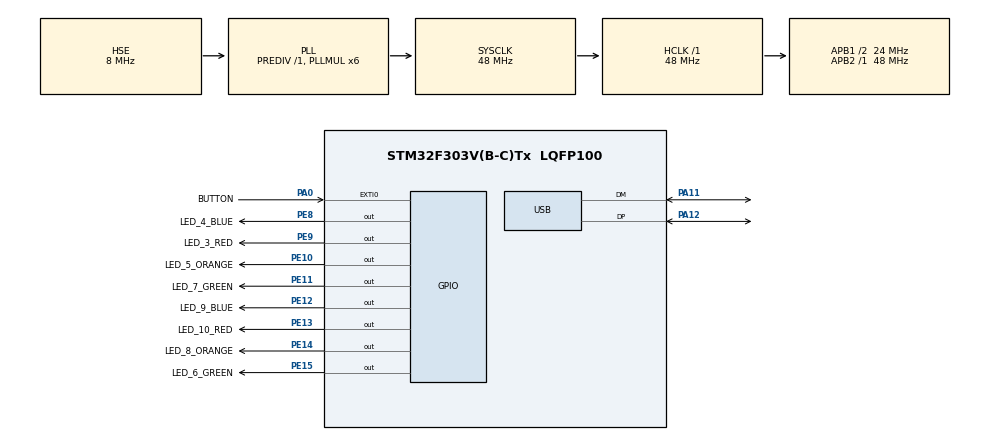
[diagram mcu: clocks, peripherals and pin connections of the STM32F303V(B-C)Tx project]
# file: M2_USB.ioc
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Mcu.Family=STM32F3
Mcu.Name=STM32F303V(B-C)Tx
Mcu.Package=LQFP100
NVIC.EXTI0_IRQn=true\:0\:0\:false\:false\:true\:true
NVIC.PriorityGroup=NVIC_PRIORITYGROUP_4
NVIC.USB_LP_CAN_RX0_IRQn=true\:0\:0\:false\:false\:true\:false
PA0.GPIO_Label=BUTTON
PA0.GPIO_ModeDefaultEXTI=GPIO_MODE_IT_RISING
PA0.Signal=GPXTI0
PA11.Mode=Device
PA11.Signal=USB_DM
PA12.Mode=Device
PA12.Signal=USB_DP
PE10.GPIO_Label=LED_5_ORANGE
PE10.Signal=GPIO_Output
PE11.GPIO_Label=LED_7_GREEN
PE11.Signal=GPIO_Output
PE12.GPIO_Label=LED_9_BLUE
PE12.Signal=GPIO_Output
PE13.GPIO_Label=LED_10_RED
PE13.Signal=GPIO_Output
PE14.GPIO_Label=LED_8_ORANGE
PE14.Signal=GPIO_Output
PE15.GPIO_Label=LED_6_GREEN
PE15.Signal=GPIO_Output
PE8.GPIO_Label=LED_4_BLUE
PE8.Signal=GPIO_Output
PE9.GPIO_Label=LED_3_RED
PE9.Signal=GPIO_Output
PF0-OSC_IN.Mode=HSE-External-Oscillator
PF0-OSC_IN.Signal=RCC_OSC_IN
PF1-OSC_OUT.Mode=HSE-External-Oscillator
PF1-OSC_OUT.Signal=RCC_OSC_OUT
ProjectManager.HeapSize=0x200
ProjectManager.StackSize=0x400
ProjectManager.TargetToolchain=SW4STM32
RCC.AHBFreq_Value=48000000
RCC.APB1CLKDivider=RCC_HCLK_DIV2
RCC.APB1Freq_Value=24000000
RCC.APB1TimFreq_Value=48000000
RCC.APB2Freq_Value=48000000
RCC.APB2TimFreq_Value=48000000
RCC.CortexFreq_Value=48000000
RCC.HCLKFreq_Value=48000000
RCC.HSE_VALUE=8000000
RCC.HSI_VALUE=8000000
RCC.LSE_VALUE=32768
RCC.PLLMUL=RCC_PLL_MUL6
RCC.SYSCLKFreq_VALUE=48000000
RCC.SYSCLKSourceVirtual=RCC_SYSCLKSOURCE_PLLCLK
RCC.USBFreq_Value=48000000
USB_DEVICE.APP_RX_DATA_SIZE=256
USB_DEVICE.APP_TX_DATA_SIZE=256
USB_DEVICE.CLASS_NAME_FS=CDC
USB_DEVICE.VirtualMode=Cdc
USB_DEVICE.VirtualModeFS=Cdc_FS
VP_USB_DEVICE_VS_USB_DEVICE_CDC_FS.Mode=CDC_FS
board=M2_USB

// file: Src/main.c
/**
 ******************************************************************************
 * @file           : main.c
 * @brief          : Main program body
 ******************************************************************************
 * This notice applies to any and all portions of this file
 * that are not between comment pairs USER CODE BEGIN and
 * USER CODE END. Other portions of this file, whether
 * inserted by the user or by software development tools
 * are owned by their respective copyright owners.
 *
 * Copyright (c) 2018 STMicroelectronics International N.V.
 * All rights reserved.
 *
 * Redistribution and use in source and binary forms, with or without
 * modification, are permitted, provided that the following conditions are met:
 *
 * 1. Redistribution of source code must retain the above copyright notice,
 *    this list of conditions and the following disclaimer.
 * 2. Redistributions in binary form must reproduce the above copyright notice,
 *    this list of conditions and the following disclaimer in the documentation
 *    and/or other materials provided with the distribution.
 * 3. Neither the name of STMicroelectronics nor the names of other
 *    contributors to this software may be used to endorse or promote products
 *    derived from this software without specific written permission.
 * 4. This software, including modifications and/or derivative works of this
 *    software, must execute solely and exclusively on microcontroller or
 *    microprocessor devices manufactured by or for STMicroelectronics.
 * 5. Redistribution and use of this software other than as permitted under
 *    this license is void and will automatically terminate your rights under
 *    this license.
 *
 * THIS SOFTWARE IS PROVIDED BY STMICROELECTRONICS AND CONTRIBUTORS "AS IS"
 * AND ANY EXPRESS, IMPLIED OR STATUTORY WARRANTIES, INCLUDING, BUT NOT
 * LIMITED TO, THE IMPLIED WARRANTIES OF MERCHANTABILITY, FITNESS FOR A
 * PARTICULAR PURPOSE AND NON-INFRINGEMENT OF THIRD PARTY INTELLECTUAL PROPERTY
 * RIGHTS ARE DISCLAIMED TO THE FULLEST EXTENT PERMITTED BY LAW. IN NO EVENT
 * SHALL STMICROELECTRONICS OR CONTRIBUTORS BE LIABLE FOR ANY DIRECT, INDIRECT,
 * INCIDENTAL, SPECIAL, EXEMPLARY, OR CONSEQUENTIAL DAMAGES (INCLUDING, BUT NOT
 * LIMITED TO, PROCUREMENT OF SUBSTITUTE GOODS OR SERVICES; LOSS OF USE, DATA,
 * OR PROFITS; OR BUSINESS INTERRUPTION) HOWEVER CAUSED AND ON ANY THEORY OF
 * LIABILITY, WHETHER IN CONTRACT, STRICT LIABILITY, OR TORT (INCLUDING
 * NEGLIGENCE OR OTHERWISE) ARISING IN ANY WAY OUT OF THE USE OF THIS SOFTWARE,
 * EVEN IF ADVISED OF THE POSSIBILITY OF SUCH DAMAGE.
 *
 ******************************************************************************
 */
#include "main.h"
#include "stm32f3xx_hal.h"
#include "usb_device.h"
#include "usbd_cdc_if.h" // Plik bedacy interfejsem uzytkownika do kontrolera USB

/* USER CODE BEGIN PV */
typedef enum {
	LED3 = 0,
	LED4 = 1,
	LED5 = 2,
	LED6 = 3,
	LED7 = 4,
	LED8 = 5,
	LED9 = 6,
	LED10 = 7
} Led_TypeDef;

uint16_t GPIO_PIN[LEDn] = { LED_3_RED_Pin, LED_4_BLUE_Pin, LED_5_ORANGE_Pin,
		LED_6_GREEN_Pin,
		LED_7_GREEN_Pin, LED_8_ORANGE_Pin, LED_9_BLUE_Pin, LED_10_RED_Pin };

GPIO_TypeDef* GPIO_PORT[LEDn] = { LED_3_RED_GPIO_Port, LED_4_BLUE_GPIO_Port,
		LED_5_ORANGE_GPIO_Port,
		LED_6_GREEN_GPIO_Port, LED_7_GREEN_GPIO_Port, LED_8_ORANGE_GPIO_Port,
		LED_9_BLUE_GPIO_Port, LED_10_RED_GPIO_Port };
uint8_t LED_SEQ[LEDn] = { LED3, LED5, LED7, LED9, LED10, LED8, LED6, LED4 };

uint8_t DataToSend[40]; // Tablica zawierajaca dane do wyslania
uint8_t MessageCounter = 0; // Licznik wyslanych wiadomosci
uint8_t MessageLength = 0; // Zawiera dlugosc wysylanej wiadomosci
/* Private variables ---------------------------------------------------------*/

/* USER CODE END PV */

void SystemClock_Config(void);
static void MX_GPIO_Init(void);

/* USER CODE BEGIN PFP */
/* Private function prototypes -----------------------------------------------*/

/* USER CODE END PFP */

int main(void) {

	/* MCU Configuration----------------------------------------------------------*/

	/* Reset of all peripherals, Initializes the Flash interface and the Systick. */
	HAL_Init();

	/* Configure the system clock */
	SystemClock_Config();

	/* Initialize all configured peripherals */
	MX_GPIO_Init();
	MX_USB_DEVICE_Init();

	/* Infinite loop */
	/* USER CODE BEGIN WHILE */
	while (1) {
		static uint8_t indeks = 0;
		static uint8_t zapal = 1;
		if (zapal)
			HAL_GPIO_WritePin(GPIO_PORT[LED_SEQ[indeks]],
					GPIO_PIN[LED_SEQ[indeks]], GPIO_PIN_SET);
		else
			HAL_GPIO_WritePin(GPIO_PORT[LED_SEQ[indeks]],
					GPIO_PIN[LED_SEQ[indeks]], GPIO_PIN_RESET);

		if (++indeks >= LEDn) {
			indeks = 0;
			if (zapal)
				zapal = 0;
			else
				zapal = 1;
		}

		++MessageCounter;
		MessageLength = sprintf(DataToSend, "Wiadomosc nr %d\n\r",
				MessageCounter);
		CDC_Transmit_FS(DataToSend, MessageLength);
		HAL_Delay(1000);
		/* USER CODE END WHILE */

	}

}

void SystemClock_Config(void) {

	RCC_OscInitTypeDef RCC_OscInitStruct;
	RCC_ClkInitTypeDef RCC_ClkInitStruct;
	RCC_PeriphCLKInitTypeDef PeriphClkInit;

	/**Initializes the CPU, AHB and APB busses clocks
	 */
	RCC_OscInitStruct.OscillatorType = RCC_OSCILLATORTYPE_HSE;
	RCC_OscInitStruct.HSEState = RCC_HSE_ON;
	RCC_OscInitStruct.HSEPredivValue = RCC_HSE_PREDIV_DIV1;
	RCC_OscInitStruct.HSIState = RCC_HSI_ON;
	RCC_OscInitStruct.PLL.PLLState = RCC_PLL_ON;
	RCC_OscInitStruct.PLL.PLLSource = RCC_PLLSOURCE_HSE;
	RCC_OscInitStruct.PLL.PLLMUL = RCC_PLL_MUL6;
	if (HAL_RCC_OscConfig(&RCC_OscInitStruct) != HAL_OK) {
		_Error_Handler(__FILE__, __LINE__);
	}

	/**Initializes the CPU, AHB and APB busses clocks
	 */
	RCC_ClkInitStruct.ClockType = RCC_CLOCKTYPE_HCLK | RCC_CLOCKTYPE_SYSCLK
			| RCC_CLOCKTYPE_PCLK1 | RCC_CLOCKTYPE_PCLK2;
	RCC_ClkInitStruct.SYSCLKSource = RCC_SYSCLKSOURCE_PLLCLK;
	RCC_ClkInitStruct.AHBCLKDivider = RCC_SYSCLK_DIV1;
	RCC_ClkInitStruct.APB1CLKDivider = RCC_HCLK_DIV2;
	RCC_ClkInitStruct.APB2CLKDivider = RCC_HCLK_DIV1;

	if (HAL_RCC_ClockConfig(&RCC_ClkInitStruct, FLASH_LATENCY_1) != HAL_OK) {
		_Error_Handler(__FILE__, __LINE__);
	}

	PeriphClkInit.PeriphClockSelection = RCC_PERIPHCLK_USB;
	PeriphClkInit.USBClockSelection = RCC_USBCLKSOURCE_PLL;
	if (HAL_RCCEx_PeriphCLKConfig(&PeriphClkInit) != HAL_OK) {
		_Error_Handler(__FILE__, __LINE__);
	}

	/**Configure the Systick interrupt time
	 */
	HAL_SYSTICK_Config(HAL_RCC_GetHCLKFreq() / 1000);

	/**Configure the Systick
	 */
	HAL_SYSTICK_CLKSourceConfig(SYSTICK_CLKSOURCE_HCLK);

	/* SysTick_IRQn interrupt configuration */
	HAL_NVIC_SetPriority(SysTick_IRQn, 0, 0);
}

/** Configure pins as
 * Analog
 * Input
 * Output
 * EVENT_OUT
 * EXTI
 */
static void MX_GPIO_Init(void) {

	GPIO_InitTypeDef GPIO_InitStruct;

	/* GPIO Ports Clock Enable */
	__HAL_RCC_GPIOF_CLK_ENABLE()
	;
	__HAL_RCC_GPIOA_CLK_ENABLE()
	;
	__HAL_RCC_GPIOE_CLK_ENABLE()
	;

	/*Configure GPIO pin Output Level */
	HAL_GPIO_WritePin(GPIOE,
			LED_4_BLUE_Pin | LED_3_RED_Pin | LED_5_ORANGE_Pin | LED_7_GREEN_Pin
					| LED_9_BLUE_Pin | LED_10_RED_Pin | LED_8_ORANGE_Pin
					| LED_6_GREEN_Pin, GPIO_PIN_RESET);

	/*Configure GPIO pin : BUTTON_Pin */
	GPIO_InitStruct.Pin = BUTTON_Pin;
	GPIO_InitStruct.Mode = GPIO_MODE_IT_RISING;
	GPIO_InitStruct.Pull = GPIO_NOPULL;
	HAL_GPIO_Init(BUTTON_GPIO_Port, &GPIO_InitStruct);

	/*Configure GPIO pins : LED_4_BLUE_Pin LED_3_RED_Pin LED_5_ORANGE_Pin LED_7_GREEN_Pin
	 LED_9_BLUE_Pin LED_10_RED_Pin LED_8_ORANGE_Pin LED_6_GREEN_Pin */
	GPIO_InitStruct.Pin = LED_4_BLUE_Pin | LED_3_RED_Pin | LED_5_ORANGE_Pin
			| LED_7_GREEN_Pin | LED_9_BLUE_Pin | LED_10_RED_Pin
			| LED_8_ORANGE_Pin | LED_6_GREEN_Pin;
	GPIO_InitStruct.Mode = GPIO_MODE_OUTPUT_PP;
	GPIO_InitStruct.Pull = GPIO_NOPULL;
	GPIO_InitStruct.Speed = GPIO_SPEED_FREQ_LOW;
	HAL_GPIO_Init(GPIOE, &GPIO_InitStruct);

	/* EXTI interrupt init*/
	HAL_NVIC_SetPriority(EXTI0_IRQn, 0, 0);
	HAL_NVIC_EnableIRQ(EXTI0_IRQn);

}

void _Error_Handler(char *file, int line) {
	while (1) {
	}
}

/************************ (C) COPYRIGHT STMicroelectronics *****END OF FILE****/
